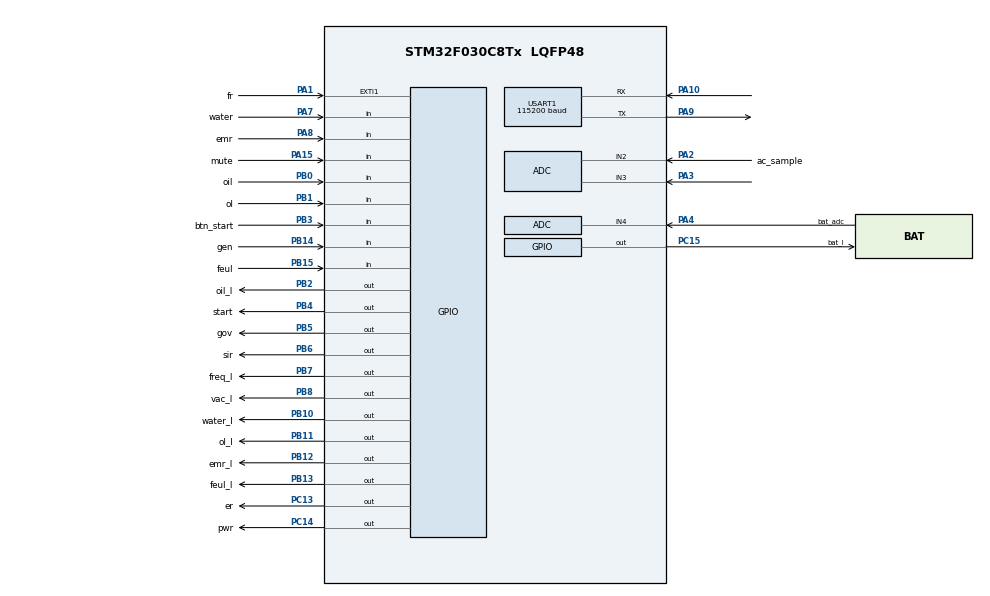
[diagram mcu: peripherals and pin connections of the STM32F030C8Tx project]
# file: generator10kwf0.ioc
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ADC.ClockPrescaler=ADC_CLOCK_ASYNC_DIV1
ADC.ContinuousConvMode=ENABLE
ADC.DMAContinuousRequests=DISABLE
ADC.EOCSelection=ADC_EOC_SEQ_CONV
ADC.SamplingTime=ADC_SAMPLETIME_239CYCLES_5
ADC.ScanConvMode=ADC_SCAN_DIRECTION_BACKWARD
Mcu.Family=STM32F0
Mcu.Name=STM32F030C8Tx
Mcu.Package=LQFP48
NVIC.ADC1_IRQn=true\:0\:0\:false\:false\:true\:true\:true
NVIC.TIM3_IRQn=true\:0\:0\:false\:false\:true\:true\:true
NVIC.USART1_IRQn=true\:0\:0\:false\:false\:true\:true\:true
PA1.GPIO_Label=fr
PA1.Signal=GPXTI1
PA10.Mode=Asynchronous
PA10.Signal=USART1_RX
PA13.Mode=Serial_Wire
PA13.Signal=SYS_SWDIO
PA14.Mode=Serial_Wire
PA14.Signal=SYS_SWCLK
PA15.GPIO_Label=mute
PA15.Signal=GPIO_Input
PA2.GPIO_Label=ac_sample
PA2.Mode=IN2
PA2.Signal=ADC_IN2
PA3.Mode=IN3
PA3.Signal=ADC_IN3
PA4.GPIO_Label=bat_adc
PA4.Mode=IN4
PA4.Signal=ADC_IN4
PA7.GPIO_Label=water
PA7.Signal=GPIO_Input
PA8.GPIO_Label=emr
PA8.Signal=GPIO_Input
PA9.Mode=Asynchronous
PA9.Signal=USART1_TX
PB0.GPIO_Label=oil
PB0.Signal=GPIO_Input
PB1.GPIO_Label=ol
PB1.Signal=GPIO_Input
PB10.GPIO_Label=water_l
PB10.Signal=GPIO_Output
PB11.GPIO_Label=ol_l
PB11.Signal=GPIO_Output
PB12.GPIO_Label=emr_l
PB12.Signal=GPIO_Output
PB13.GPIO_Label=feul_l
PB13.Signal=GPIO_Output
PB14.GPIO_Label=gen
PB14.Signal=GPIO_Input
PB15.GPIO_Label=feul
PB15.Signal=GPIO_Input
PB2.GPIO_Label=oil_l
PB2.Signal=GPIO_Output
PB3.GPIO_Label=btn_start
PB3.Signal=GPIO_Input
PB4.GPIO_Label=start
PB4.Signal=GPIO_Output
PB5.GPIO_Label=gov
PB5.Signal=GPIO_Output
PB6.GPIO_Label=sir
PB6.Signal=GPIO_Output
PB7.GPIO_Label=freq_l
PB7.Signal=GPIO_Output
PB8.GPIO_Label=vac_l
PB8.Signal=GPIO_Output
PC13.GPIO_Label=er
PC13.Signal=GPIO_Output
PC14-OSC32_IN.GPIO_Label=pwr
PC14-OSC32_IN.Signal=GPIO_Output
PC15-OSC32_OUT.GPIO_Label=bat_l
PC15-OSC32_OUT.Signal=GPIO_Output
ProjectManager.HeapSize=0x200
ProjectManager.StackSize=0x400
ProjectManager.TargetToolchain=STM32CubeIDE
RCC.AHBFreq_Value=16000000
RCC.APB1Freq_Value=16000000
RCC.APB1TimFreq_Value=16000000
RCC.HCLKFreq_Value=16000000
RCC.PLLMUL=RCC_PLL_MUL4
RCC.SYSCLKFreq_VALUE=16000000
RCC.SYSCLKSource=RCC_SYSCLKSOURCE_PLLCLK
TIM3.Period=9
TIM3.Prescaler=799
USART1.BaudRate=115200
USART1.VirtualMode-Asynchronous=VM_ASYNC
VP_TIM3_VS_ClockSourceINT.Mode=Internal
board=custom

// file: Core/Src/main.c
/* USER CODE BEGIN Header */
/**
 ******************************************************************************
 * @file           : main.c
 * @brief          : Main program body
 ******************************************************************************
 * @attention
 *
 * <h2><center>&copy; Copyright (c) 2021 STMicroelectronics.
 * All rights reserved.</center></h2>
 *
 * This software component is licensed by ST under BSD 3-Clause license,
 * the "License"; You may not use this file except in compliance with the
 * License. You may obtain a copy of the License at:
 *                        opensource.org/licenses/BSD-3-Clause
 *
 ******************************************************************************
 */
/* USER CODE END Header */
#include "main.h"
#include "adc.h"
#include "dma.h"
#include "tim.h"
#include "usart.h"
#include "gpio.h"

/* USER CODE BEGIN Includes */
#define turn_off gov_on;is_off=1;
#define report 0
#if report==1
#include "string.h"
#include "stdio.h"
#endif
#include "macro.h"
/* USER CODE END Includes */

void SystemClock_Config(void);

/* USER CODE BEGIN 0 */
uint16_t adc_val[3]={0,0,0};
char tx[30]="";
void print(char* str);
extern _Bool adc,working;
float vbat,vadc,vac_sample;
extern uint16_t vbat_int,vadc_int,vac_sample_int;
extern volatile uint32_t thick,working_time;
volatile uint32_t old_thick=0,mscnt=0,start_cnt=0,mute_cnt=0;
void leds_test();
void adc_init();
_Bool check_err();
_Bool mute=0,new_val=0,oil_err_flag=0,
		feul_err_flag=0,emr_err_flag=0,
		dyn_err_flag=0,water_err_flag=0,
		freq_err_flag=0,vac_err_high_flag=0,vac_err_low_flag=0,
		ol_err_flag=0,bat_err_flag=0,is_off=0;
float samples[200];
float min_sample=0;
uint32_t sample_cnt=0,err_cnt=0;
volatile uint32_t fr=0,pulse=0,freq=0,fr_err_cnt=0,off_delay_cnt=0,vac_err_cnt=0;
_Bool flag=0,first_check=0,starting=0;
/* USER CODE END 0 */

int main(void)
{

	/* MCU Configuration--------------------------------------------------------*/

	/* Reset of all peripherals, Initializes the Flash interface and the Systick. */

	LL_APB1_GRP2_EnableClock(LL_APB1_GRP2_PERIPH_SYSCFG);
	LL_APB1_GRP1_EnableClock(LL_APB1_GRP1_PERIPH_PWR);
	//working=1;
	/* System interrupt init*/

	/* Configure the system clock */
	SystemClock_Config();

	/* Initialize all configured peripherals */
	MX_GPIO_Init();
	MX_DMA_Init();
	MX_ADC_Init();
	MX_USART1_UART_Init();
	MX_TIM3_Init();
	/* USER CODE BEGIN 2 */
	//print("start\r\n");

	leds_test();
	adc_init();
	/* USER CODE END 2 */

	/* Infinite loop */
	/* USER CODE BEGIN WHILE */
	while (1)
	{
		if(is_off){
			off_delay_cnt++;
			if(off_delay_cnt>20000){
				gov_off;
				//is_off=0;
				working=0;
				off_delay_cnt=0;
			}
		}
		if(check_err()){
			if(mscnt%250==0)
			{
				pwr_off;
				er_toggle;
				if(vac_err_low_flag){
					vac_toggle;
				}
			}
			pwr_off;
			if(working){
				if(!mute)
				{
					siren_on;
					if(isMutePressed){
						mute_cnt++;
						if (mute_cnt>3000){
							//turn off
							if(!is_off)
								turn_off;
						}
						else if(mute_cnt>300){
							mute=1;
						}
					}else{
						mute_cnt=0;
					}
				}
				else
				{
					siren_off;
				}

				if(dyn_err_flag){
					if(oil_err_flag||water_err_flag||ol_err_flag||emr_err_flag||freq_err_flag||vac_err_high_flag||vac_err_low_flag){
						//turn off
						if(!is_off)
							turn_off;
					}else{

					}
				}else{
					//turn off
					if(oil_err_flag||water_err_flag||ol_err_flag||emr_err_flag||freq_err_flag||vac_err_high_flag||vac_err_low_flag){
						if(!is_off)
							turn_off;
					}else{
						flag=0;
					}
				}
			}else{
				if(isStartPressed){
					if(!mute)
					{
						siren_on;
					}
				}

				if(!mute)
				{
					if(isMutePressed){
						mute_cnt++;
						if(mute_cnt>300){
							mute=1;
						}
					}else{
						mute_cnt=0;
					}
				}
				else
				{
					siren_off;
					mute=0;
				}
			}

		}else{
			if(first_check){
				er_off;
				siren_off;
				mute=0;
				if(working){
					if(mscnt%250==0)
					{
						pwr_toggle;
					}
				}else{
					pwr_on;
				}

				if((isStartPressed)&&!(vbat>vdyn_min && freq>150)){//if(vbat>vdyn_min || freq>150)
					if(start_cnt<20000){
						start_on;
						starting=1;
					}else{
						start_off;
						starting=0;
					}
					start_cnt++;
				}else{
					start_off;
					start_cnt=0;
					starting=0;
				}

				if(isMutePressed){
					mute_cnt++;
					if(mute_cnt>1500){
						//turn off
						turn_off;
					}
				}else{
					mute_cnt=0;
				}
			}
		}

		while(thick==old_thick);
		old_thick=thick;
		mscnt++;

#if report==1
		if(adc && mscnt>1000)
		{
			//LL_GPIO_TogglePin(feul_l_GPIO_Port, feul_l_Pin);
			mscnt=0;
			vac_sample*=(float)(3.3/4096);
			vbat*=(float)(3.3/4096);
			vbat*=5.54;
			vbat+=0.6;
			vadc*=(float)(3.3/4096);
			sprintf(tx,"\r\nvbat:%d.%d%d\r\n",(int)(vbat),(int)(vbat*10)%10,(int)(vbat*100)%10);
			print(tx);
			sprintf(tx,"vac_sample:%d.%d%d\r\n",(int)(vac_sample),(int)(vac_sample*10)%10,(int)(vac_sample*100)%10);
			print(tx);
			sprintf(tx,"vadc:%d.%d%d\r\n",(int)(vadc),(int)(vadc*10)%10,(int)(vadc*100)%10);
			print(tx);
			adc=0;
		}
#endif
		/* USER CODE END WHILE */

	}
}

void SystemClock_Config(void)
{
	LL_FLASH_SetLatency(LL_FLASH_LATENCY_0);
	while(LL_FLASH_GetLatency() != LL_FLASH_LATENCY_0)
	{
	}
	LL_RCC_HSI_Enable();

	/* Wait till HSI is ready */
	while(LL_RCC_HSI_IsReady() != 1)
	{

	}
	LL_RCC_HSI_SetCalibTrimming(16);
	LL_RCC_HSI14_Enable();

	/* Wait till HSI14 is ready */
	while(LL_RCC_HSI14_IsReady() != 1)
	{

	}
	LL_RCC_HSI14_SetCalibTrimming(16);
	LL_RCC_PLL_ConfigDomain_SYS(LL_RCC_PLLSOURCE_HSI_DIV_2, LL_RCC_PLL_MUL_4);
	LL_RCC_PLL_Enable();

	/* Wait till PLL is ready */
	while(LL_RCC_PLL_IsReady() != 1)
	{

	}
	LL_RCC_SetAHBPrescaler(LL_RCC_SYSCLK_DIV_1);
	LL_RCC_SetAPB1Prescaler(LL_RCC_APB1_DIV_1);
	LL_RCC_SetSysClkSource(LL_RCC_SYS_CLKSOURCE_PLL);

	/* Wait till System clock is ready */
	while(LL_RCC_GetSysClkSource() != LL_RCC_SYS_CLKSOURCE_STATUS_PLL)
	{

	}
	LL_Init1msTick(16000000);
	LL_SetSystemCoreClock(16000000);
	LL_RCC_HSI14_EnableADCControl();
	LL_RCC_SetUSARTClockSource(LL_RCC_USART1_CLKSOURCE_PCLK1);
}

/* USER CODE BEGIN 4 */
#if report==1
void print(char* str){
	for(int j=0;j<strlen(str);j++)
	{
		LL_USART_TransmitData8(USART1, (uint8_t)str[j]);
		while(!LL_USART_IsActiveFlag_TXE(USART1));
	}
}
#endif

float cal_min(float*val){
	float min=val[0];
	for(int i=0;i<200;i++){
		if(min>val[i])min=val[i];
	}
	return min;
}

_Bool check_err(){
	if(!is_off){
		if(adc){
			new_val=1;
			vac_sample=vac_sample_int*(float)(3.3/4096);
			if(vac_sample<2.0){
				pulse=1;
			}else{
				if(vac_sample>2.7 && pulse){
					fr++;
					pulse=0;
				}
			}
			samples[sample_cnt++]=vac_sample;
			if(sample_cnt==sizeof(samples)/4){
				sample_cnt=0;
				min_sample=cal_min(samples);
				//if(min_sample)
			}

			vadc=vadc_int*(float)(3.3/4096);
			adc=0;

		}

		if(working){
			if((oil_err)&& working_time>3000){
				oil_on;
				oil_err_flag=1;
				//err_cnt++;
				flag=1;
			}
			//		else{
			//			oil_err_flag=0;
			//			oil_off;
			//		}
			if(new_val){
				new_val=0;
				vbat=vbat_int*(float)(3.3/4096);
				//			vbat*=5.54;
				//			vbat+=0.6;
			}
			if((vbat<vdyn_min && working_time>10000) || dyn_err){
				bat_on;
				dyn_err_flag=1;

				flag=1;
			}else{
				dyn_err_flag=0;
				bat_off;
			}

			if((min_sample<vac_min)&& working_time>200000){
				//vac_on;
				//flag=1;
				//err_cnt++;
				vac_err_high_flag=1;
			}

			if((min_sample>vac_max)&& working_time>200000){
				//flag=1;
				//err_cnt++;
				vac_err_low_flag=1;
			}

			if(!(vac_err_high_flag||vac_err_low_flag)){
				//vac_off;
				vac_err_cnt=0;
			}else{
				vac_err_cnt++;
			}
			if((freq<192||freq>208)&&(working_time>200000)){//
				//fr_on;
				fr_err_cnt++;
				//flag=1;
				//err_cnt++;
				//freq_err_flag=1;
			}else{
				fr_err_cnt=0;
				//fr_off;
				//freq_err_flag=0;
			}
		}else{
			//not working

			if(new_val){

				new_val=0;
				vbat=vbat_int*(float)(3.3/4096);
				//			vbat*=5.54;
				//			vbat+=0.6;
			}

			if(vbat<vbat_min&&!starting){
				bat_on;
				flag=1;
				//err_cnt++;
				bat_err_flag=1;
			}else{
				bat_off;
				bat_err_flag=0;
			}

			if(vbat>vdyn_min || freq>150){
				working=1;
			}

		}

		if(water_err){
			water_on;
			water_err_flag=1;
			flag=1;
			//err_cnt++;
		}

		if(feul_err){
			feul_on;
			flag=1;
			//err_cnt++;
			feul_err_flag=1;
		}

		if(emr_err){
			emr_on;
			flag=1;
			//err_cnt++;
			emr_err_flag=1;
		}

		if(ol_err){
			ol_err_flag=1;
			ol_on;
			flag=1;
			//err_cnt++;
		}

		if(vac_err_cnt>100){
			flag=1;
			err_cnt++;
			//freq_err_flag=1;
			if(vac_err_high_flag){
				vac_on;
			}
		}else{
			vac_err_high_flag=0;
			vac_err_low_flag=0;
			vac_off;
		}

		if(fr_err_cnt>3000){
			flag=1;
			err_cnt++;
			fr_on;
			freq_err_flag=1;
		}

		if(!flag){
			err_cnt=0;
		}else{
			err_cnt++;
			if(err_cnt<200){
				flag=0;
			}
		}
		if(mscnt>1000){
			first_check=1;
		}
		if(!flag){
			oil_off;
			water_off;
			emr_off;
			ol_off;
			feul_off;
			bat_off;
			fr_off;
			vac_off;
		}
	}
	return flag;
}
void adc_init() {
	LL_TIM_EnableCounter(TIM3);
	LL_TIM_EnableIT_UPDATE(TIM3);
	LL_ADC_StartCalibration(ADC1);
	while (LL_ADC_IsCalibrationOnGoing(ADC1));

	LL_ADC_Enable(ADC1);
	LL_ADC_REG_StartConversion(ADC1);
	LL_DMA_SetDataLength(DMA1, LL_DMA_CHANNEL_1, 3);
	LL_DMA_SetPeriphAddress(DMA1, LL_DMA_CHANNEL_1,
			LL_ADC_DMA_GetRegAddr(ADC1, LL_ADC_DMA_REG_REGULAR_DATA));
	LL_DMA_SetMemoryAddress(DMA1, LL_DMA_CHANNEL_1,(uint32_t)adc_val);
	LL_DMA_EnableChannel(DMA1, LL_DMA_CHANNEL_1);
	LL_DMA_EnableIT_TC(DMA1, LL_DMA_CHANNEL_1);
}

void leds_test() {
	for (int i = 0; i < 5; i++) {
		vac_off;
		oil_on;
		ms_delay(250);
		oil_off;
		water_on;
		ms_delay(250);
		feul_on;
		water_off;
		ms_delay(250);
		feul_off;
		emr_on;
		ms_delay(250);
		bat_on;
		emr_off;
		ms_delay(250);
		bat_off;
		ol_on;
		ms_delay(250);
		ol_off;
		pwr_on;
		ms_delay(250);
		pwr_off;
		er_on;
		ms_delay(250);
		fr_on;
		er_off;
		ms_delay(250);
		vac_on;
		fr_off;
		ms_delay(250);
	}
	vac_off;
}

/* USER CODE END 4 */

void Error_Handler(void)
{
	__disable_irq();
	while (1)
	{
	}
}

/************************ (C) COPYRIGHT STMicroelectronics *****END OF FILE****/
